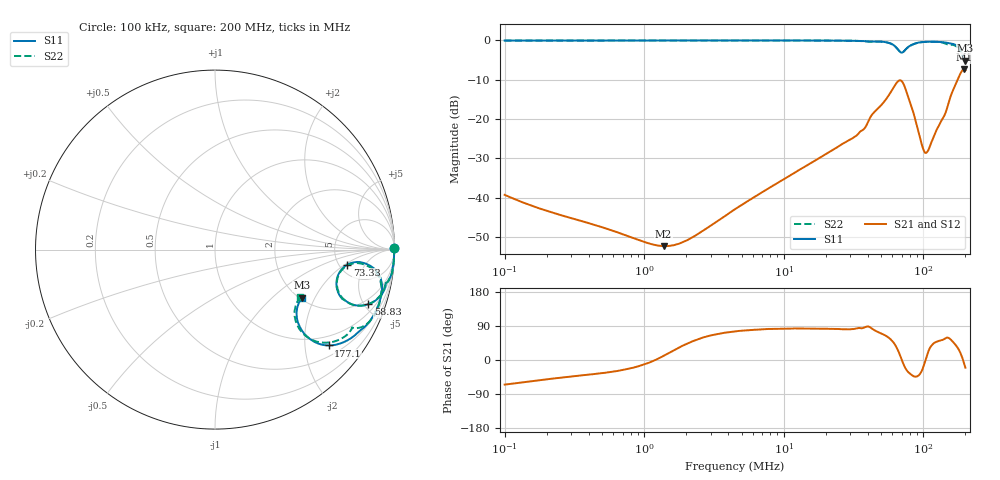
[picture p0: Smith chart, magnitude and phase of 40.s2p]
#  HZ  S  RI  R  50.00
! Rohde & Schwarz Vector Network Analyzer
! Rohde-Schwarz,ZNLE6-2Port,1323001256200024,1.71.1.10-23.02.1.238
! Created: UTC 4/7/2025, 3:40:10 AM
! freq[Hz]  re:S11  im:S11  re:S21  im:S21  re:S12  im:S12  re:S22  im:S22
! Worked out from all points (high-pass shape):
!   1001 points, 100 kHz to 200 MHz, reference 50 ohm
!   highest |S21| = -7.37 dB at 195.5 MHz (marker M1); lowest = -52.4 dB at 1.377 MHz (marker M2)
!   |S21| within 3 dB of the highest: 65.96 MHz to 69.95 MHz (3.993 MHz wide, 5.88 % of centre); 174.3 MHz to end of sweep
!   lowest |S11| = -5.2 dB at 200 MHz (marker M3), VSWR 3.47, Z = 102 - j79.1 ohm
!   |S11| at or under -10 dB: nowhere
!   |S22| runs from -5.3 to 0.0 dB; largest |S21 - S12| = 0.011
!   S11 on the Smith chart (normalised r, x): 100 kHz: open; 58.83 MHz: 1.56, -5.34; 73.33 MHz: 5.88, -2.20; 177.1 MHz: 0.75, -2.54; 200 MHz: 2.05, -1.58
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100000  0.9955 0.00957  0.00459 -0.00981  0.0046 -0.00982  0.9956 0.00953
355854.1  0.9959 0.00166  0.00381 -0.00327  0.00382 -0.00323  0.9963 0.00227
1266322  0.9975 -0.00348  0.00244 0.00017  0.00245 0.000244  0.9977 -0.00355
1376751  0.9976 -0.00401  0.00236 0.000456  0.00237 0.000528  0.9977 -0.00412
2044132  0.9979 -0.00727  0.00209 0.002  0.00209 0.00207  0.998 -0.00744
4472136  0.9979 -0.0187  0.00178 0.00689  0.00184 0.00687  0.9984 -0.0186
1.591428e7  0.9952 -0.0685  0.00347 0.0278  0.0037 0.0278  0.9955 -0.0705
3.326495e7  0.9759 -0.1549  0.00721 0.0612  0.00863 0.0609  0.9735 -0.1606
4.178475e7  0.9509 -0.1891  0.00791 0.1056  0.0112 0.1053  0.9424 -0.1854
5.663162e7  0.8823 -0.2918  0.105 0.1717  0.1084 0.1685  0.8822 -0.2902
5.88253e7  0.8542 -0.3044  0.1346 0.1793  0.1356 0.1778  0.8532 -0.3044
6.693938e7  0.6923 -0.2519  0.292 0.1009  0.296 0.0913  0.6952 -0.2493
7.333209e7  0.7364 -0.0845  0.2482 -0.0772  0.2464 -0.0834  0.7366 -0.0894
8.602321e7  0.8981 -0.1171  0.0797 -0.0758  0.078 -0.0784  0.8938 -0.1234
9.863572e7  0.9309 -0.205  0.0401 -0.0178  0.0399 -0.0189  0.9272 -0.2165
1.048196e8  0.9289 -0.242  0.0368 0.00415  0.0371 0.00335  0.925 -0.2552
1.486928e8  0.8179 -0.4437  0.0731 0.1226  0.0744 0.1199  0.7718 -0.4366
1.641358e8  0.7466 -0.5005  0.1644 0.173  0.1676 0.1664  0.7306 -0.4787
1.770979e8  0.6326 -0.5342  0.2781 0.166  0.2812 0.1567  0.6174 -0.5187
1.853616e8  0.5309 -0.4992  0.3717 0.108  0.3738 0.0974  0.5141 -0.4871
1.954911e8  0.4542 -0.3534  0.4238 -0.0609  0.4236 -0.0709  0.4433 -0.3417
2e8  0.4828 -0.2685  0.3894 -0.1438  0.3883 -0.1527  0.4728 -0.2661
